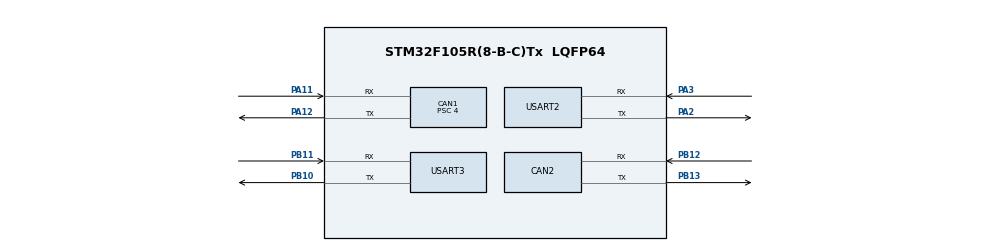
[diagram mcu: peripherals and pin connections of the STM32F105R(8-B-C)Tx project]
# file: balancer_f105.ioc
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CAN1.BS2=CAN_BS2_6TQ
CAN1.CalculateTimeBit=4000
CAN1.CalculateTimeQuantum=500.0
CAN1.Prescaler=4
CAN1.SJW=CAN_SJW_3TQ
CAN2.CalculateTimeBit=6000
CAN2.CalculateTimeQuantum=2000.0
Mcu.Family=STM32F1
Mcu.Name=STM32F105R(8-B-C)Tx
Mcu.Package=LQFP64
NVIC.PriorityGroup=NVIC_PRIORITYGROUP_4
PA11.Mode=Master
PA11.Signal=CAN1_RX
PA12.Mode=Master
PA12.Signal=CAN1_TX
PA13.Mode=Serial_Wire
PA13.Signal=SYS_JTMS-SWDIO
PA14.Mode=Serial_Wire
PA14.Signal=SYS_JTCK-SWCLK
PA2.Mode=Asynchronous
PA2.Signal=USART2_TX
PA3.Mode=Asynchronous
PA3.Signal=USART2_RX
PB10.Mode=Asynchronous
PB10.Signal=USART3_TX
PB11.Mode=Asynchronous
PB11.Signal=USART3_RX
PB12.Mode=Slave
PB12.Signal=CAN2_RX
PB13.Mode=Slave
PB13.Signal=CAN2_TX
PD0-OSC_IN.Mode=HSE-External-Oscillator
PD0-OSC_IN.Signal=RCC_OSC_IN
PD1-OSC_OUT.Mode=HSE-External-Oscillator
PD1-OSC_OUT.Signal=RCC_OSC_OUT
ProjectManager.HeapSize=0x200
ProjectManager.StackSize=0x400
ProjectManager.TargetToolchain=EWARM V8.32
RCC.PLLSourceVirtual=RCC_PLLSOURCE_HSE
RCC.USBFreq_Value=21333333.333333332
USART2.VirtualMode=VM_ASYNC
USART3.VirtualMode=VM_ASYNC
board=custom

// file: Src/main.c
/* USER CODE BEGIN Header */
/**
  ******************************************************************************
  * @file           : main.c
  * @brief          : Main program body
  ******************************************************************************
  * @attention
  *
  * <h2><center>&copy; Copyright (c) 2020 STMicroelectronics.
  * All rights reserved.</center></h2>
  *
  * This software component is licensed by ST under BSD 3-Clause license,
  * the "License"; You may not use this file except in compliance with the
  * License. You may obtain a copy of the License at:
  *                        opensource.org/licenses/BSD-3-Clause
  *
  ******************************************************************************
  */
/* USER CODE END Header */

#include "main.h"

/* USER CODE BEGIN Includes */
//#include "CanApplication.hpp"
#include <stdio.h>
#include <stdlib.h>
#include "CanTypes.hpp"
#include "modem.hpp"
#include "modemController.hpp"
/* USER CODE END Includes */

CAN_HandleTypeDef hcan1;
CAN_HandleTypeDef hcan2;

UART_HandleTypeDef huart2;
UART_HandleTypeDef huart3;

void SystemClock_Config(void);
static void MX_GPIO_Init(void);
static void MX_CAN1_Init(void);
static void MX_CAN2_Init(void);
static void MX_USART2_UART_Init(void);
static void MX_USART3_UART_Init(void);

/* USER CODE BEGIN 0 */
int MyLowLevelPutchar(int x) {
	auto result = HAL_UART_Transmit(&huart3, (uint8_t*)&x, 1, HAL_MAX_DELAY);
	if (result==HAL_OK)
		return x;
	return -1;
}

/* USER CODE END 0 */

int main(void)
{

  /* MCU Configuration--------------------------------------------------------*/

  /* Reset of all peripherals, Initializes the Flash interface and the Systick. */
  HAL_Init();

  /* Configure the system clock */
  SystemClock_Config();

  /* Initialize all configured peripherals */
  MX_GPIO_Init();
  MX_CAN1_Init();
  MX_CAN2_Init();
  MX_USART2_UART_Init();
  MX_USART3_UART_Init();
  /* USER CODE BEGIN 2 */

  //ControllerCan ccan {&hcan1, CAN_MODE_LOOPBACK};
  ControllerCan ccan {&hcan1, CAN_MODE_NORMAL};
  /* USER CODE END 2 */

  /* Infinite loop */
  /* USER CODE BEGIN WHILE */
  const int numboards = 10;
  board_t boards[numboards];
  modem m {huart2};
  modemController mc{m};
  printf("Start\n");
  //FILE* f;
  //auto f = fopen();
	//fprintf(f, "aaa");
	//fscanf(f, "%s");
  while (true)
  {
	/* USER CODE END WHILE */

    /* USER CODE BEGIN 3 */
	mc.Run();
	if (mc.canSend())
		mc.Send((uint8_t*)boards, sizeof(board_t) * numboards);

	CAN_RxMsg msgout {0};
	auto nummsg = ccan.MessagesAvailable();
	if ( nummsg > 0) {
		printf("Got %d CAN messages", nummsg);
		ccan.ReadMessage(msgout);
		BSP_parseCANRxBuffer(msgout, boards);
	}
  }
  /* USER CODE END 3 */
}

void SystemClock_Config(void)
{
  RCC_OscInitTypeDef RCC_OscInitStruct = {0};
  RCC_ClkInitTypeDef RCC_ClkInitStruct = {0};

  /** Initializes the CPU, AHB and APB busses clocks
  */
  RCC_OscInitStruct.OscillatorType = RCC_OSCILLATORTYPE_HSI;
  RCC_OscInitStruct.HSIState = RCC_HSI_ON;
  RCC_OscInitStruct.HSICalibrationValue = RCC_HSICALIBRATION_DEFAULT;
  RCC_OscInitStruct.PLL.PLLState = RCC_PLL_NONE;
  RCC_OscInitStruct.PLL2.PLL2State = RCC_PLL_NONE;
  if (HAL_RCC_OscConfig(&RCC_OscInitStruct) != HAL_OK)
  {
    Error_Handler();
  }
  /** Initializes the CPU, AHB and APB busses clocks
  */
  RCC_ClkInitStruct.ClockType = RCC_CLOCKTYPE_HCLK|RCC_CLOCKTYPE_SYSCLK
                              |RCC_CLOCKTYPE_PCLK1|RCC_CLOCKTYPE_PCLK2;
  RCC_ClkInitStruct.SYSCLKSource = RCC_SYSCLKSOURCE_HSI;
  RCC_ClkInitStruct.AHBCLKDivider = RCC_SYSCLK_DIV1;
  RCC_ClkInitStruct.APB1CLKDivider = RCC_HCLK_DIV1;
  RCC_ClkInitStruct.APB2CLKDivider = RCC_HCLK_DIV1;

  if (HAL_RCC_ClockConfig(&RCC_ClkInitStruct, FLASH_LATENCY_0) != HAL_OK)
  {
    Error_Handler();
  }
  /** Configure the Systick interrupt time
  */
  __HAL_RCC_PLLI2S_ENABLE();
}

static void MX_CAN1_Init(void)
{

  hcan1.Instance = CAN1;
  hcan1.Init.Prescaler = 1;
  hcan1.Init.Mode = CAN_MODE_NORMAL;
  hcan1.Init.SyncJumpWidth = CAN_SJW_3TQ;
  hcan1.Init.TimeSeg1 = CAN_BS1_1TQ;
  hcan1.Init.TimeSeg2 = CAN_BS2_6TQ;
  hcan1.Init.TimeTriggeredMode = DISABLE;
  hcan1.Init.AutoBusOff = DISABLE;
  hcan1.Init.AutoWakeUp = DISABLE;
  hcan1.Init.AutoRetransmission = DISABLE;
  hcan1.Init.ReceiveFifoLocked = DISABLE;
  hcan1.Init.TransmitFifoPriority = DISABLE;
  if (HAL_CAN_Init(&hcan1) != HAL_OK)
  {
    Error_Handler();
  }

}

static void MX_CAN2_Init(void)
{

  hcan2.Instance = CAN2;
  hcan2.Init.Prescaler = 16;
  hcan2.Init.Mode = CAN_MODE_NORMAL;
  hcan2.Init.SyncJumpWidth = CAN_SJW_1TQ;
  hcan2.Init.TimeSeg1 = CAN_BS1_1TQ;
  hcan2.Init.TimeSeg2 = CAN_BS2_1TQ;
  hcan2.Init.TimeTriggeredMode = DISABLE;
  hcan2.Init.AutoBusOff = DISABLE;
  hcan2.Init.AutoWakeUp = DISABLE;
  hcan2.Init.AutoRetransmission = DISABLE;
  hcan2.Init.ReceiveFifoLocked = DISABLE;
  hcan2.Init.TransmitFifoPriority = DISABLE;
  if (HAL_CAN_Init(&hcan2) != HAL_OK)
  {
    Error_Handler();
  }

}

static void MX_USART2_UART_Init(void)
{

  huart2.Instance = USART2;
  huart2.Init.BaudRate = 115200;
  huart2.Init.WordLength = UART_WORDLENGTH_8B;
  huart2.Init.StopBits = UART_STOPBITS_1;
  huart2.Init.Parity = UART_PARITY_NONE;
  huart2.Init.Mode = UART_MODE_TX_RX;
  huart2.Init.HwFlowCtl = UART_HWCONTROL_NONE;
  huart2.Init.OverSampling = UART_OVERSAMPLING_16;
  if (HAL_UART_Init(&huart2) != HAL_OK)
  {
    Error_Handler();
  }

}

static void MX_USART3_UART_Init(void)
{

  huart3.Instance = USART3;
  huart3.Init.BaudRate = 115200;
  huart3.Init.WordLength = UART_WORDLENGTH_8B;
  huart3.Init.StopBits = UART_STOPBITS_1;
  huart3.Init.Parity = UART_PARITY_NONE;
  huart3.Init.Mode = UART_MODE_TX_RX;
  huart3.Init.HwFlowCtl = UART_HWCONTROL_NONE;
  huart3.Init.OverSampling = UART_OVERSAMPLING_16;
  if (HAL_UART_Init(&huart3) != HAL_OK)
  {
    Error_Handler();
  }

}

static void MX_GPIO_Init(void)
{

  /* GPIO Ports Clock Enable */
  __HAL_RCC_GPIOD_CLK_ENABLE();
  __HAL_RCC_GPIOA_CLK_ENABLE();
  __HAL_RCC_GPIOB_CLK_ENABLE();

}

void Error_Handler(void)
{
}

/************************ (C) COPYRIGHT STMicroelectronics *****END OF FILE****/
